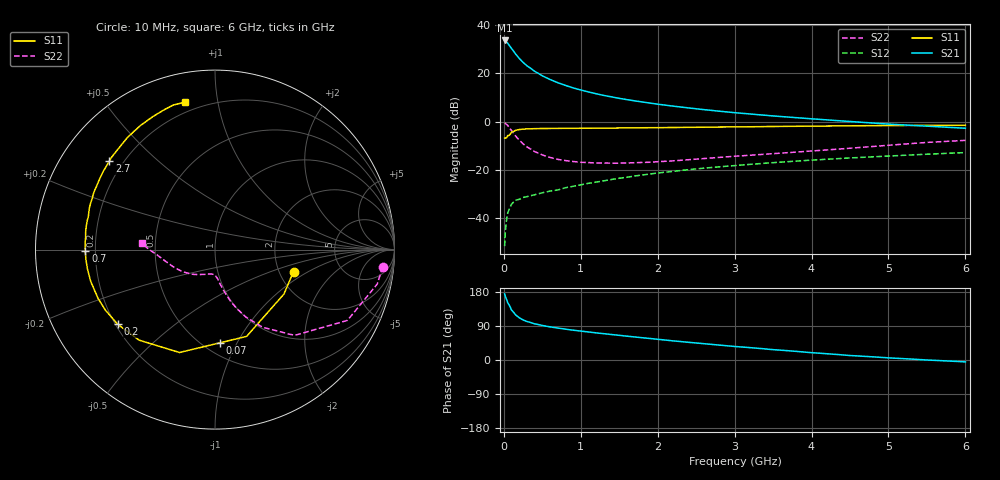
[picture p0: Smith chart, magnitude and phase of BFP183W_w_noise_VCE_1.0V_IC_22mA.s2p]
! Infineon Technologies  Discrete & RF Semiconductors
! BFP183W
! VCE =  1.0 V,  IC =  22 mA
! Common Emitter S-Parameters:  Jan 2017
# GHz  S  MA  R  50
!  f  S11  S21  S12  S22
! GHz  MAG  ANG  MAG  ANG  MAG  ANG  MAG  ANG
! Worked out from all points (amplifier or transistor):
!   77 points, 10 MHz to 6 GHz, reference 50 ohm
!   highest |S21| = 33.7 dB at 10 MHz (marker M1)
!   |S21| within 3 dB of that: start of sweep to 92.11 MHz
!   unconditionally stable (mu >= 1): 787.9 MHz to 5.046 GHz
!   at 130 MHz: K = 0.30, MSG = 31.2 dB, |S12| = -33.3 dB
!   at 2.2 GHz: K = 1.15, MAG = 11.2 dB, |S12| = -20.7 dB
!   at 6 GHz: K = 0.96, MSG = 5.0 dB, |S12| = -12.9 dB
!   lowest NFmin = 1.22 dB at 450 MHz
!   S11 on the Smith chart (normalised r, x): 10 MHz: 2.40, -0.74; 70 MHz: 0.60, -0.85; 200 MHz: 0.21, -0.33; 700 MHz: 0.16, -0.01; 2.7 GHz: 0.15, +0.36; 6 GHz: 0.15, +0.81
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0.01  0.4545 -15.6  48.29 174.6  0.0026 87.2  0.9394 -5.9
0.02  0.4571 -32.8  47.3 167.8  0.0054 79.2  0.924 -12.0
0.05  0.5146 -70.0  42.53 151.4  0.0127 64.3  0.8367 -28.1
0.07  0.5202 -87.1  38.2 144.7  0.0152 57.6  0.7536 -34.6
0.1  0.6064 -109.0  32.99 131.7  0.0193 51.0  0.6524 -47.1
0.15  0.6584 -130.0  25.65 119.6  0.0233 45.0  0.5079 -58.5
0.2  0.6833 -142.5  20.53 111.5  0.0244 40.9  0.4129 -65.4
0.25  0.6975 -151.1  16.98 105.7  0.0266 38.9  0.3462 -70.0
0.3  0.706 -157.2  14.4 101.6  0.0277 39.9  0.2991 -73.3
0.4  0.7149 -165.8  11.07 95.4  0.0303 41.5  0.2386 -77.6
0.5  0.7188 -171.4  8.923 91.1  0.0333 43.4  0.2032 -80.6
0.6  0.7214 -175.7  7.484 87.4  0.0361 46.3  0.1805 -83.1
0.7  0.7225 -179.3  6.43 84.4  0.0381 48.3  0.1645 -84.6
0.9  0.7241 174.7  5.009 78.7  0.0454 52.4  0.1485 -88.3
1.1  0.7288 169.9  4.125 74.0  0.0525 55.0  0.1413 -91.5
1.5  0.7378 161.5  3.037 65.1  0.0668 57.0  0.1374 -99.2
2.1  0.7512 150.0  2.195 52.6  0.0892 56.7  0.1501 -113.3
2.7  0.7682 140.0  1.708 41.2  0.1115 54.7  0.1758 -128.0
3.1  0.7783 133.8  1.485 34.2  0.1259 52.7  0.1955 -136.9
4.1  0.8078 120.0  1.114 18.0  0.162 46.8  0.2519 -157.8
5.1  0.8299 109.4  0.87 4.6  0.1962 40.2  0.3317 -175.8
6  0.8381 101.5  0.728 -5.0  0.2277 33.9  0.4077 175.2
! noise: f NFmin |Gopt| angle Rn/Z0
0.45  1.22  0.22  174  0.1
0.9  1.25  0.26  177  0.09
1.9  1.73  0.41  -161  0.09
2.4  1.96  0.46  -155  0.12
